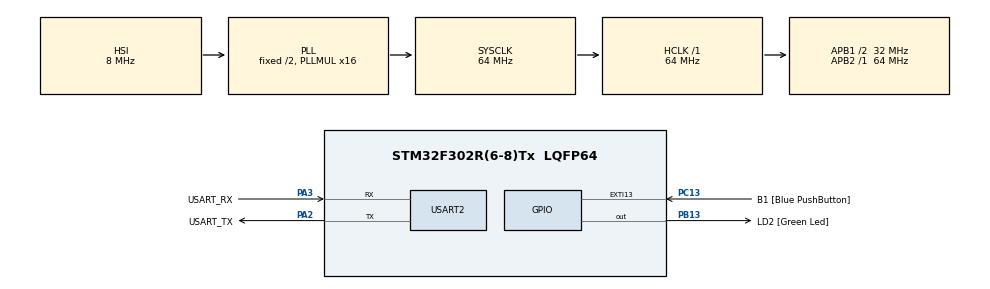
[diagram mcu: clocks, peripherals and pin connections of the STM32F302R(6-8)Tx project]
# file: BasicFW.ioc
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Dma.Request0=USART2_RX
Dma.USART2_RX.0.Direction=DMA_PERIPH_TO_MEMORY
Dma.USART2_RX.0.Instance=DMA1_Channel6
Dma.USART2_RX.0.MemDataAlignment=DMA_MDATAALIGN_BYTE
Dma.USART2_RX.0.MemInc=DMA_MINC_ENABLE
Dma.USART2_RX.0.Mode=DMA_NORMAL
Dma.USART2_RX.0.PeriphDataAlignment=DMA_PDATAALIGN_BYTE
Dma.USART2_RX.0.PeriphInc=DMA_PINC_DISABLE
Dma.USART2_RX.0.Priority=DMA_PRIORITY_LOW
FREERTOS.Tasks01=defaultTask,24,128,StartDefaultTask,Default,NULL,Dynamic,NULL,NULL;blinkLEDTask,25,128,StartTask02,Default,NULL,Dynamic,NULL,NULL
Mcu.Family=STM32F3
Mcu.Name=STM32F302R(6-8)Tx
Mcu.Package=LQFP64
NVIC.DMA1_Channel6_IRQn=true\:5\:0\:false\:false\:true\:true\:false\:true
NVIC.PriorityGroup=NVIC_PRIORITYGROUP_4
NVIC.TIM1_UP_TIM16_IRQn=true\:0\:0\:false\:false\:true\:false\:false\:true
NVIC.TimeBase=TIM1_UP_TIM16_IRQn
NVIC.TimeBaseIP=TIM1
PA13.GPIO_Label=TMS
PA13.Mode=Serial_Wire
PA13.Signal=SYS_JTMS-SWDIO
PA14.GPIO_Label=TCK
PA14.Mode=Serial_Wire
PA14.Signal=SYS_JTCK-SWCLK
PA2.GPIO_Label=USART_TX
PA2.GPIO_Mode=GPIO_MODE_AF_PP
PA2.GPIO_PuPd=GPIO_NOPULL
PA2.GPIO_Speed=GPIO_SPEED_FREQ_LOW
PA2.Mode=Asynchronous
PA2.Signal=USART2_TX
PA3.GPIO_Label=USART_RX
PA3.GPIO_Mode=GPIO_MODE_AF_PP
PA3.GPIO_PuPd=GPIO_NOPULL
PA3.GPIO_Speed=GPIO_SPEED_FREQ_LOW
PA3.Mode=Asynchronous
PA3.Signal=USART2_RX
PB13.GPIO_Label=LD2 [Green Led]
PB13.Signal=GPIO_Output
PB3.GPIO_Label=SWO
PB3.Mode=Trace_Asynchronous_SW
PB3.Signal=SYS_JTDO-TRACESWO
PC13.GPIO_Label=B1 [Blue PushButton]
PC13.GPIO_ModeDefaultEXTI=GPIO_MODE_IT_FALLING
PC13.Signal=GPXTI13
PC14\ -\ OSC32_IN.Mode=LSE-External-Oscillator
PC14\ -\ OSC32_IN.Signal=RCC_OSC32_IN
PC15\ -\ OSC32_OUT.Mode=LSE-External-Oscillator
PC15\ -\ OSC32_OUT.Signal=RCC_OSC32_OUT
PF0-OSC_IN.Mode=HSE-External-Clock-Source
PF0-OSC_IN.Signal=RCC_OSC_IN
PF1-OSC_OUT.Signal=RCC_OSC_OUT
ProjectManager.HeapSize=0x200
ProjectManager.StackSize=0x400
ProjectManager.TargetToolchain=Makefile
RCC.AHBFreq_Value=64000000
RCC.APB1CLKDivider=RCC_HCLK_DIV2
RCC.APB1Freq_Value=32000000
RCC.APB1TimFreq_Value=64000000
RCC.APB2Freq_Value=64000000
RCC.APB2TimFreq_Value=64000000
RCC.CortexFreq_Value=64000000
RCC.HCLKFreq_Value=64000000
RCC.HSE_VALUE=8000000
RCC.HSI_VALUE=8000000
RCC.PLLM=8
RCC.PLLMUL=RCC_PLL_MUL16
RCC.PLLN=336
RCC.PLLP=RCC_PLLP_DIV4
RCC.PLLQ=7
RCC.RCC_PLLsource_Clock_Source_FROM_HSE=RCC_HSE_PREDIV_DIV2
RCC.SYSCLKFreq_VALUE=64000000
RCC.SYSCLKSourceVirtual=RCC_SYSCLKSOURCE_PLLCLK
RCC.USBFreq_Value=64000000
USART2.VirtualMode-Asynchronous=VM_ASYNC
VP_FREERTOS_VS_CMSIS_V2.Mode=CMSIS_V2
VP_SYS_VS_tim1.Mode=TIM1
board=NUCLEO-F302R8

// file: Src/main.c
/* USER CODE BEGIN Header */
/**
  ******************************************************************************
  * @file           : main.c
  * @brief          : Main program body
  ******************************************************************************
  * @attention
  *
  * <h2><center>&copy; Copyright (c) 2020 STMicroelectronics.
  * All rights reserved.</center></h2>
  *
  * This software component is licensed by ST under Ultimate Liberty license
  * SLA0044, the "License"; You may not use this file except in compliance with
  * the License. You may obtain a copy of the License at:
  *                             www.st.com/SLA0044
  *
  ******************************************************************************
  */
/* USER CODE END Header */

#include "main.h"
#include "cmsis_os.h"

/* USER CODE BEGIN Includes */
#include "prg_runner.h"
#include "errorLogger.h"
/* USER CODE END Includes */

/* USER CODE BEGIN PD */
#define RX_BUFF_SIZE  2
/* USER CODE END PD */

UART_HandleTypeDef huart2;
//DMA_HandleTypeDef hdma_usart2_rx;
uint8_t rxBuffer[RX_BUFF_SIZE];
uint8_t uart_cmd = (uint8_t)_PRG_END;
/* Definitions for defaultTask */
osThreadId_t defaultTaskHandle;
const osThreadAttr_t defaultTask_attributes = {
  .name = "defaultTask",
  .priority = (osPriority_t) osPriorityNormal,
  .stack_size = 128
};
/* USER CODE BEGIN PV */
/* User - Task Variables ---------------------------------------------------- */

osThreadId_t sysCtrlTaskHandle;
const osThreadAttr_t sysCtrlTask_attributes = {
  .name = "sysCtrlTask",
  .priority = (osPriority_t) osPriorityAboveNormal,
  .stack_size = 128
};
osThreadId_t smplTimerTaskHandle;
const osThreadAttr_t smplTimerTask_attributes = {
  .name = "smplTimerTask",
  .priority = (osPriority_t) osPriorityHigh,
  .stack_size = 32
};
/* User - Linker Symboles ----------------------------------------------------*/
/* Flash - HNCS Error Block*/
extern uint32_t _hncs_wblock_start, _hncs_wblock_end;
/* Flash - HNCS Warning Block*/
extern uint32_t _hncs_eblock_start, _hncs_eblock_end;
/* Flash - HNCS Error Block*/
extern uint32_t _hncs_tblock_start, _hncs_tblock_end;

/* User - Common Variables -------------------------------------------------- */

/* User - Program Manager Variables ----------------------------------------- */

/* USER CODE END PV */

void SystemClock_Config(void);
static void MX_GPIO_Init(void);
static void MX_USART2_UART_Init(void);
static void MX_DMA1_Init(void);
void StartDefaultTask(void *argument);

/* USER CODE BEGIN PFP */
/* User - MX Function Prototyps ------------------------------------------- */
/* User - Task Function Prototyps ------------------------------------------- */
void StartSysCtrlTask(void *argument);
void StartSmplTimerTask(void *args);

/* User - Common Function Prototyps ----------------------------------------- */
void initUARTMsg( void );

/* User - Callback Function Prototyps --------------------------------------- */
void HAL_UART_RxCpltCallback(struct __UART_HandleTypeDef *huart);
/* User - UART Communication Function Prototyps ----------------------------- */
uint8_t extractUARTCmd( uint8_t * data );
uint8_t uartCmdIsAvailable(void);
uint8_t getUartCmd(void);
void resetUartCom(void);

/* User - Data Logger Function Prototyps ------------------------------------ */
uint8_t flash_write32( uint32_t * block_p, uint32_t data);
uint8_t flash_erase32( uint32_t * block_p );
uint8_t flash_eraseHNCS( void );

/* User - Program Manager Function Prototyps */
void sendUartMsgInt(uint32_t num, uint8_t base);
void setTimer(uint32_t value);
uint8_t getButtonState(void);
uint8_t getPrgTimer0Value(void);
uint8_t getCurPrg(void);
/* USER CODE END PFP */

int main(void)
{
  /* USER CODE BEGIN 1 */
#ifndef __UTEST
  /* USER CODE END 1 */

  /* MCU Configuration--------------------------------------------------------*/

  /* Reset of all peripherals, Initializes the Flash interface and the Systick. */
  HAL_Init();

  /* USER CODE BEGIN Init */
  /* User - Programm Manager initialization ---------------------------------- */
  /* USER CODE END Init */

  /* Configure the system clock */
  SystemClock_Config();

  /* Initialize all configured peripherals */
  MX_GPIO_Init();
  MX_DMA1_Init();
  MX_USART2_UART_Init();
  /* USER CODE BEGIN 2 */
  if ( hPrg1_init() != PRG_MNG_OK )
    { sendUartMsg("Initialization of Programm P1 Failed.\n", sizeof("Initialization of Programm P1 Failed.\n")); }                        /* Initialize Program Manager *//* Initialize Program Manager */
  if ( initErrorLog( (uint32_t*)&_hncs_eblock_start , (uint32_t*)&_hncs_eblock_end ) != PRG_MNG_OK )
    { sendUartMsg("Initialization of Error Logger Failed.\n", sizeof("Initialization of Error Logger Failed.\n")); }                    /* Initialize Program Manager */

  initUARTMsg();

  /* USER CODE END 2 */
  /* Init scheduler */
  osKernelInitialize();

  /* Create the thread(s) */
  /* creation of defaultTask */
  defaultTaskHandle = osThreadNew(StartDefaultTask, NULL, &defaultTask_attributes);

  /* USER CODE BEGIN RTOS_THREADS */
  /* add threads, ... */
  sysCtrlTaskHandle = osThreadNew(StartSysCtrlTask, NULL, &sysCtrlTask_attributes);
  smplTimerTaskHandle = osThreadNew(StartSmplTimerTask, NULL, &smplTimerTask_attributes);
  if ( sysCtrlTaskHandle == NULL || smplTimerTaskHandle == NULL )
  {
    DBG_Error_Handler( MOD_MAIN_C , FNC_main , RSN_INIT_FAILURE , 0 );
  }
  /* USER CODE END RTOS_THREADS */
  /* Start scheduler */
  osKernelStart();

  /* We should never get here as control is now taken by the scheduler */

  /* Infinite loop */
  while (1)
  {

    /* USER CODE BEGIN 3 */
  }

#else
  /* Do some crazy Unit Testing*/

#endif
  /* USER CODE END 3 */
}

void SystemClock_Config(void)
{
  RCC_OscInitTypeDef RCC_OscInitStruct = {0};
  RCC_ClkInitTypeDef RCC_ClkInitStruct = {0};

  /** Initializes the CPU, AHB and APB busses clocks
  */
  RCC_OscInitStruct.OscillatorType = RCC_OSCILLATORTYPE_HSI;
  RCC_OscInitStruct.HSIState = RCC_HSI_ON;
  RCC_OscInitStruct.HSICalibrationValue = RCC_HSICALIBRATION_DEFAULT;
  RCC_OscInitStruct.PLL.PLLState = RCC_PLL_ON;
  RCC_OscInitStruct.PLL.PLLSource = RCC_PLLSOURCE_HSI;
  RCC_OscInitStruct.PLL.PLLMUL = RCC_PLL_MUL16;
  if (HAL_RCC_OscConfig(&RCC_OscInitStruct) != HAL_OK)
  {
    DBG_Error_Handler(MOD_MAIN_C , FNC_SystemClock_Config , 0 , 0);
  }
  /** Initializes the CPU, AHB and APB busses clocks
  */
  RCC_ClkInitStruct.ClockType = RCC_CLOCKTYPE_HCLK|RCC_CLOCKTYPE_SYSCLK
                              |RCC_CLOCKTYPE_PCLK1|RCC_CLOCKTYPE_PCLK2;
  RCC_ClkInitStruct.SYSCLKSource = RCC_SYSCLKSOURCE_PLLCLK;
  RCC_ClkInitStruct.AHBCLKDivider = RCC_SYSCLK_DIV1;
  RCC_ClkInitStruct.APB1CLKDivider = RCC_HCLK_DIV2;
  RCC_ClkInitStruct.APB2CLKDivider = RCC_HCLK_DIV1;

  if (HAL_RCC_ClockConfig(&RCC_ClkInitStruct, FLASH_LATENCY_2) != HAL_OK)
  {
    DBG_Error_Handler(MOD_MAIN_C , FNC_SystemClock_Config , 1 , 0);
  }
}

static void MX_USART2_UART_Init(void)
{

  huart2.Instance = USART2;
  huart2.Init.BaudRate = 38400;
  huart2.Init.WordLength = UART_WORDLENGTH_8B;
  huart2.Init.StopBits = UART_STOPBITS_1;
  huart2.Init.Parity = UART_PARITY_NONE;
  huart2.Init.Mode = UART_MODE_TX_RX;
  huart2.Init.HwFlowCtl = UART_HWCONTROL_NONE;
  huart2.Init.OverSampling = UART_OVERSAMPLING_16;
  huart2.Init.OneBitSampling = UART_ONE_BIT_SAMPLE_DISABLE;
  huart2.AdvancedInit.AdvFeatureInit = UART_ADVFEATURE_NO_INIT;
  if (HAL_UART_Init(&huart2) != HAL_OK)
  {
    DBG_Error_Handler( MOD_MAIN_C , FNC_MX_DMA_UART2_RX_Init , 0 , 0 );
  }

}

static void MX_GPIO_Init(void)
{
  GPIO_InitTypeDef GPIO_InitStruct = {0};

  /* GPIO Ports Clock Enable */
  __HAL_RCC_GPIOC_CLK_ENABLE();
  __HAL_RCC_GPIOF_CLK_ENABLE();
  __HAL_RCC_GPIOA_CLK_ENABLE();
  __HAL_RCC_GPIOB_CLK_ENABLE();

  /*Configure GPIO pin Output Level */
  HAL_GPIO_WritePin(LD2_GPIO_Port, LD2_Pin, GPIO_PIN_RESET);

  /*Configure GPIO pin : B1_Pin */
  GPIO_InitStruct.Pin = B1_Pin;
  GPIO_InitStruct.Mode = GPIO_MODE_IT_FALLING;
  GPIO_InitStruct.Pull = GPIO_NOPULL;
  HAL_GPIO_Init(B1_GPIO_Port, &GPIO_InitStruct);

  /*Configure GPIO pin : LD2_Pin */
  GPIO_InitStruct.Pin = LD2_Pin;
  GPIO_InitStruct.Mode = GPIO_MODE_OUTPUT_PP;
  GPIO_InitStruct.Pull = GPIO_NOPULL;
  GPIO_InitStruct.Speed = GPIO_SPEED_FREQ_LOW;
  HAL_GPIO_Init(LD2_GPIO_Port, &GPIO_InitStruct);

}

/* Get started every x ms or, after some especial initilaization via Interrupt. */
void StartSysCtrlTask(void *argument)
{
  /* Start UART RX the first time in IRQ mode  */
  sendUartMsg( "Init SysCtrlTask\n" , sizeof( "Init SysCtrlTask\n" ) );
  HAL_UART_Receive_DMA( &huart2 , rxBuffer , RX_BUFF_SIZE );
  for(;;)
  {
    osDelay(250);
  }
}

void StartSmplTimerTask(void *argument)
{
  sendUartMsg( "Init SmplTimerTask\n" , sizeof( "Init SmplTimerTask\n" ) );
  for(;;)
  {
    /* Add the needet Timers here */
    if (prgMng_timer0 > 0 )
    {
      prgMng_timer0--;
    }
    HAL_GPIO_TogglePin(LD2_GPIO_Port, LD2_Pin);
    osDelay(125);
  }
}

static void MX_DMA1_Init(void)
{
  __HAL_RCC_DMA1_CLK_ENABLE();

  HAL_NVIC_SetPriority( DMA1_Channel6_IRQn , 14 , 0 );
  HAL_NVIC_EnableIRQ( DMA1_Channel6_IRQn );
}

/* User - Callback Functions --------------------------------------------------------- */
void HAL_UART_RxCpltCallback(struct __UART_HandleTypeDef *huart)
{
  if (huart->Instance == USART2)
  {
    if (uart_cmd == (uint8_t)_PRG_END )
    {
      sendUartMsg((char*)rxBuffer,RX_BUFF_SIZE);
      sendUartMsg("\n",sizeof("\n"));
      uart_cmd = extractUARTCmd(rxBuffer);
    }
    else
    {
      sendUartMsg("Busy\n",sizeof("Busy\n"));
    }
    memset(rxBuffer,0,RX_BUFF_SIZE);
  }
  else
  {
    /* Rx Ring Buffer overflow */
    DBG_Error_Handler( MOD_MAIN_C , FNC_HAL_UART_RxCpltCallback , RSN_BUFFER_OVERFLOW , 0 );
  }

}
/* user - UART Communication Function Implementations --------------------------------- */
uint8_t extractUARTCmd( uint8_t * data )
{
  uint8_t res = (uint8_t)_PRG_END;
  res = (uint8_t)atoi((char*)data);
  return res;
}
uint8_t uartCmdIsAvailable(void)
{
  if ( uart_cmd != (uint8_t)_PRG_END )
  {
    return PRG_MNG_OK;
  }
  return PRG_MNG_FAILED;
}
uint8_t getUartCmd(void)
{
  return uart_cmd;
}
void resetUartCom(void)
{
  uart_cmd = (uint8_t)_PRG_END;
}
/* user - Common Function Implementations --------------------------------------------- */
void initUARTMsg( void )
{
  char address[33] = {0};
  sendUartMsg("Bachelorarbeit von gslg\n", sizeof("Bachelorarbeit von gslg\n"));

  sendUartMsg("HNCS Test Block: ", sizeof("HNCS Test Block: "));
  sendUartMsg("From: ", sizeof("From: "));
  itoa((uint32_t)&_hncs_tblock_start,address,16);
  sendUartMsg(address, 33);
  sendUartMsg(" To: ", sizeof(" To: "));
  memset(address,0,33);
  itoa((uint32_t)&_hncs_tblock_end,address,16);
  sendUartMsg(address, 33);
  sendUartMsg("\n", sizeof("\n"));

  sendUartMsg("HNCS Error Block: ", sizeof("HNCS Error Block: "));
  sendUartMsg("From: ", sizeof("From: "));
  memset(address,0,33);
  itoa((uint32_t)&_hncs_eblock_start,address,16);
  sendUartMsg(address, 33);
  sendUartMsg(" To: ", sizeof(" To: "));
  memset(address,0,33);
  itoa((uint32_t)&_hncs_eblock_end,address,16);
  sendUartMsg(address, 33);
  sendUartMsg("\n", sizeof("\n"));

  sendUartMsg("HNCS Warning Block: ", sizeof("HNCS Warning Block: "));
  sendUartMsg("From: ", sizeof("From: "));
  memset(address,0,33);
  itoa((uint32_t)&_hncs_wblock_start,address,16);
  sendUartMsg(address, 33);
  sendUartMsg(" To: ", sizeof(" To: "));
  memset(address,0,33);
  itoa((uint32_t)&_hncs_wblock_end,address,16);
  sendUartMsg(address, 33);
  sendUartMsg("\n", sizeof("\n"));

  sendUartMsg("Initilaization completed\n",sizeof("Initilaization: completed\n"));
  sendUartMsg("\n", sizeof("\n"));
}
/* user - Flash Function Implementations ---------------------------------------------- */
uint8_t flash_write32( uint32_t * block_p, uint32_t data )
{
  uint8_t res = PRG_MNG_FAILED;

  sendUartMsg("main.c (1)\n",sizeof("main.c (1)\n"));

  HAL_FLASH_Unlock();
  if ( HAL_FLASH_Program( FLASH_TYPEPROGRAM_WORD , (uint32_t)block_p , (uint64_t)data ) == HAL_OK)
  {
    res = PRG_MNG_OK;
  }
  HAL_FLASH_Lock();
  return res;
}
uint8_t flash_erase32( uint32_t * block_p )
{
  uint8_t res = PRG_MNG_FAILED;

  HAL_FLASH_Unlock();
  if ( HAL_FLASH_Program( FLASH_TYPEPROGRAM_WORD , (uint32_t)block_p , (uint32_t)0xFFFFFFFF ) == HAL_OK)
  {
    sendUartMsg("Successfull flash_erase32\n",sizeof("Successfull flash_erase32\n"));
    res = PRG_MNG_OK;
  }
  HAL_FLASH_Lock();

  return res;
}
uint8_t flash_eraseHNCS( void )
{
  uint8_t res = PRG_MNG_FAILED;
  static FLASH_EraseInitTypeDef f_eitf;
  uint32_t pE;

  f_eitf.TypeErase = FLASH_TYPEERASE_PAGES;
  f_eitf.PageAddress = (uint32_t)&_hncs_tblock_start;
  f_eitf.NbPages = (uint32_t)2;

  HAL_FLASH_Unlock();

  HAL_FLASHEx_Erase( &f_eitf , &pE );
  if (HAL_FLASHEx_Erase( &f_eitf , &pE )== HAL_OK)
  {
    sendUartMsg("Flash Erase Successfull\n",sizeof("Flash Erase Successfull\n"));
    res = PRG_MNG_OK;
  }
  HAL_FLASH_Lock();
  return res;
}
uint8_t flash_writeNext( void )
{
  static uint32_t * address = &_hncs_tblock_start;
  uint8_t res = PRG_MNG_FAILED;

  sendUartMsg("Test Write\n",sizeof("Test Write"));
  eLogData testLog = {
    .signature = (uint32_t)address,
    .module = (uint8_t)123,
    .function = (uint8_t)1,
    .number = (uint8_t)2,
    .value = (uint8_t)3
  } ;

  HAL_FLASH_Unlock();
  if ( HAL_FLASH_Program( FLASH_TYPEPROGRAM_WORD , (uint32_t)address , *((uint32_t*)&testLog) ) == HAL_OK )
  {
    sendUartMsg("(1)\n",sizeof("(1)\n"));
    if ( HAL_FLASH_Program( FLASH_TYPEPROGRAM_WORD , (uint32_t)(address+1) , *(((uint32_t*)&testLog)+1) ) == HAL_OK )
    {
      sendUartMsg("(2)\n",sizeof("(1)\n"));
      res = PRG_MNG_OK;
    }
  }
  sendUartMsg("(3)\n",sizeof("(1)\n"));
  HAL_FLASH_Lock();
  address += 2;
  return res;
}

/* user - Program Manager Function Implementations ------------------------------------ */
void setTimer(uint32_t value)
{
  prgMng_timer0 = value;
}
void sendUartMsg(char * str, uint8_t length)
{
  HAL_UART_Transmit(&huart2,(uint8_t*)str,length,100);
}
void sendUartMsgInt( uint32_t num , uint8_t base )
{
  char numStr[20] = { 0 };
  itoa(num,numStr,base);
  sendUartMsg(numStr, 20);
}
uint8_t getButtonState(void)
{
  return HAL_GPIO_ReadPin(B1_GPIO_Port,B1_Pin);
}
uint8_t getPrgTimer0Value(void)
{
  return prgMng_timer0;
}

/* USER CODE END 4 */

void StartDefaultTask(void *argument)
{
  /* USER CODE BEGIN 5 */
  sendUartMsg( "Init DefaultTask\n" , sizeof( "Init DefaultTask\n" ) );
  /* Infinite loop */
  for(;;)
  {
    prgMng_checkTrans( &hPrg1 );
    osDelay(1);
  }
  /* USER CODE END 5 */
}

void HAL_TIM_PeriodElapsedCallback(TIM_HandleTypeDef *htim)
{
  if (htim->Instance == TIM1) {
    HAL_IncTick();
  }
}

void Error_Handler( void )
{
  /* USER CODE BEGIN Error_Handler_Debug */
  /* User can add his own implementation to report the HAL error return state */
  HAL_GPIO_WritePin(LD2_GPIO_Port,LD2_Pin,GPIO_PIN_SET);
  while(1)
  {

  }
  /* USER CODE END Error_Handler_Debug */
}

/************************ (C) COPYRIGHT STMicroelectronics *****END OF FILE****/
